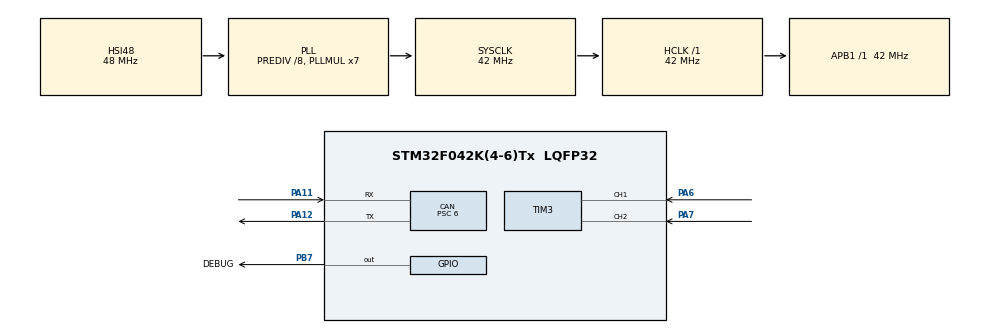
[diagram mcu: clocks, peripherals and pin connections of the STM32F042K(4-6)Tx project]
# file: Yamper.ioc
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Mcu.Family=STM32F0
RCC.PLLSourceVirtual=RCC_PLLSOURCE_HSI48
NVIC.TIM14_IRQn=true\:0\:0\:false\:false\:true\:true\:true
CAN.CalculateBaudRate=500000
PA11.Mode=CAN_Activate
CAN.CalculateTimeBit=1999.99
RCC.SYSCLKSource=RCC_SYSCLKSOURCE_PLLCLK
ProjectManager.StackSize=0x400
PA13.Signal=SYS_SWDIO
PA12.Signal=CAN_TX
CAN.BS2=CAN_BS2_2TQ
CAN.Prescaler=6
CAN.BS1=CAN_BS1_11TQ
ProjectManager.TargetToolchain=STM32CubeIDE
RCC.HCLKFreq_Value=42000000
RCC.PLLDivider=RCC_PREDIV_DIV8
RCC.AHBFreq_Value=42000000
PF0-OSC_IN.Mode=HSE-External-Oscillator
SH.S_TIM3_CH2.0=TIM3_CH2,Encoder_Interface
RCC.HSE_VALUE=16000000
board=custom
RCC.PLLMUL=RCC_PLL_MUL7
NVIC.TIM3_IRQn=true\:0\:0\:false\:false\:true\:true\:true
PA14.Mode=Serial_Wire
PB7.Signal=GPIO_Output
SH.S_TIM3_CH1.0=TIM3_CH1,Encoder_Interface
PA13.Mode=Serial_Wire
Mcu.Name=STM32F042K(4-6)Tx
CAN.CalculateTimeQuantum=142.85714285714286
TIM14.Prescaler=0
PB7.GPIO_Label=DEBUG
RCC.SYSCLKFreq_VALUE=42000000
Mcu.Package=LQFP32
PA6.Signal=S_TIM3_CH1
PA12.Mode=CAN_Activate
PA11.Signal=CAN_RX
PA14.Signal=SYS_SWCLK
ProjectManager.HeapSize=0x200
RCC.APB1TimFreq_Value=42000000
VP_TIM14_VS_ClockSourceINT.Mode=Enable_Timer
PF0-OSC_IN.Signal=RCC_OSC_IN
PF1-OSC_OUT.Mode=HSE-External-Oscillator
RCC.APB1Freq_Value=42000000
PF1-OSC_OUT.Signal=RCC_OSC_OUT
PA7.Signal=S_TIM3_CH2

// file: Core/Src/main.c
/* USER CODE BEGIN Header */
/**
  ******************************************************************************
  * @file           : main.c
  * @brief          : Main program body
  ******************************************************************************
  * @attention
  *
  * <h2><center>&copy; Copyright (c) 2021 STMicroelectronics.
  * All rights reserved.</center></h2>
  *
  * This software component is licensed by ST under BSD 3-Clause license,
  * the "License"; You may not use this file except in compliance with the
  * License. You may obtain a copy of the License at:
  *                        opensource.org/licenses/BSD-3-Clause
  *
  ******************************************************************************
  */
/* USER CODE END Header */
#include "main.h"

/* USER CODE BEGIN Includes */
#include <math.h>
/* USER CODE END Includes */

/* USER CODE BEGIN PD */
#define N 12
#define R 0.057
#define SAMPLING_PERIOD_S 0.1
/* USER CODE END PD */

CAN_HandleTypeDef hcan;

TIM_HandleTypeDef htim3;
TIM_HandleTypeDef htim14;

/* USER CODE BEGIN PV */
float* velocity;
uint8_t bytes_array[4];
CAN_TxHeaderTypeDef TxHeader;
extern uint32_t TxMailbox;
/* USER CODE END PV */

void SystemClock_Config(void);
static void MX_GPIO_Init(void);
static void MX_CAN_Init(void);
static void MX_TIM3_Init(void);
static void MX_TIM14_Init(void);
/* USER CODE BEGIN PFP */
void init_timer(void);
float compute_rpm(int n);
void add_data(void *val, uint8_t *bytes_array, uint8_t size, uint8_t is_float, uint8_t start_pos);
/* USER CODE END PFP */

/* USER CODE BEGIN 0 */
void init_timer(void) {
	RCC->APB1ENR |= RCC_APB1ENR_TIM3EN;

	TIM3->ARR = 0xFFFF;

	TIM3->CCMR1 |= (TIM_CCMR1_CC1S_0 | TIM_CCMR1_CC2S_0);
	TIM3->CCER &= ~(TIM_CCER_CC1P | TIM_CCER_CC2P);
	TIM3->SMCR |= TIM_SMCR_SMS_0 | TIM_SMCR_SMS_1;
	TIM3->CR1 |= TIM_CR1_CEN;
}

float compute_rpm(int n) {
	return (2*M_PI*R*n)/(N*SAMPLING_PERIOD_S);
}
/* USER CODE END 0 */

int main(void)
{
  /* USER CODE BEGIN 1 */
	init_timer();
  /* USER CODE END 1 */

  /* MCU Configuration--------------------------------------------------------*/

  /* Reset of all peripherals, Initializes the Flash interface and the Systick. */
  HAL_Init();

  /* Configure the system clock */
  SystemClock_Config();

  /* Initialize all configured peripherals */
  MX_GPIO_Init();
  MX_CAN_Init();
  MX_TIM3_Init();
  MX_TIM14_Init();
  /* USER CODE BEGIN 2 */
  HAL_CAN_Start(&hcan);
  HAL_TIM_Base_Start_IT(&htim14);
  __HAL_TIM_SET_COUNTER(&htim14, 0);
  /* USER CODE END 2 */

  /* Infinite loop */
  while (1)
  {

    /* USER CODE BEGIN 3 */
	  HAL_Delay(100);
	  int count = TIM3->CNT;
	  *velocity = compute_rpm(count);
	  add_data(velocity, bytes_array, 32, 1, 0);
	  HAL_CAN_AddTxMessage(&hcan, &TxHeader, bytes_array, &TxMailbox);  // load message to mailbox
	  while (HAL_CAN_IsTxMessagePending(&hcan, TxMailbox)); 		//waiting till message gets through
	  TIM3->CNT=0;
  }
  /* USER CODE END 3 */
}

void SystemClock_Config(void)
{
  RCC_OscInitTypeDef RCC_OscInitStruct = {0};
  RCC_ClkInitTypeDef RCC_ClkInitStruct = {0};

  /** Initializes the RCC Oscillators according to the specified parameters
  * in the RCC_OscInitTypeDef structure.
  */
  RCC_OscInitStruct.OscillatorType = RCC_OSCILLATORTYPE_HSI48;
  RCC_OscInitStruct.HSI48State = RCC_HSI48_ON;
  RCC_OscInitStruct.PLL.PLLState = RCC_PLL_ON;
  RCC_OscInitStruct.PLL.PLLSource = RCC_PLLSOURCE_HSI48;
  RCC_OscInitStruct.PLL.PLLMUL = RCC_PLL_MUL7;
  RCC_OscInitStruct.PLL.PREDIV = RCC_PREDIV_DIV8;
  if (HAL_RCC_OscConfig(&RCC_OscInitStruct) != HAL_OK)
  {
    Error_Handler();
  }
  /** Initializes the CPU, AHB and APB buses clocks
  */
  RCC_ClkInitStruct.ClockType = RCC_CLOCKTYPE_HCLK|RCC_CLOCKTYPE_SYSCLK
                              |RCC_CLOCKTYPE_PCLK1;
  RCC_ClkInitStruct.SYSCLKSource = RCC_SYSCLKSOURCE_PLLCLK;
  RCC_ClkInitStruct.AHBCLKDivider = RCC_SYSCLK_DIV1;
  RCC_ClkInitStruct.APB1CLKDivider = RCC_HCLK_DIV1;

  if (HAL_RCC_ClockConfig(&RCC_ClkInitStruct, FLASH_LATENCY_1) != HAL_OK)
  {
    Error_Handler();
  }
}

static void MX_CAN_Init(void)
{

  hcan.Instance = CAN;
  hcan.Init.Prescaler = 6;
  hcan.Init.Mode = CAN_MODE_NORMAL;
  hcan.Init.SyncJumpWidth = CAN_SJW_1TQ;
  hcan.Init.TimeSeg1 = CAN_BS1_11TQ;
  hcan.Init.TimeSeg2 = CAN_BS2_2TQ;
  hcan.Init.TimeTriggeredMode = DISABLE;
  hcan.Init.AutoBusOff = DISABLE;
  hcan.Init.AutoWakeUp = DISABLE;
  hcan.Init.AutoRetransmission = DISABLE;
  hcan.Init.ReceiveFifoLocked = DISABLE;
  hcan.Init.TransmitFifoPriority = DISABLE;
  if (HAL_CAN_Init(&hcan) != HAL_OK)
  {
    Error_Handler();
  }
  /* USER CODE BEGIN CAN_Init 2 */
  TxHeader.StdId = 0x1F;
  TxHeader.ExtId = 0;
  /* USER CODE END CAN_Init 2 */

}

static void MX_TIM3_Init(void)
{

  TIM_Encoder_InitTypeDef sConfig = {0};
  TIM_MasterConfigTypeDef sMasterConfig = {0};

  htim3.Instance = TIM3;
  htim3.Init.Prescaler = 0;
  htim3.Init.CounterMode = TIM_COUNTERMODE_UP;
  htim3.Init.Period = 65535;
  htim3.Init.ClockDivision = TIM_CLOCKDIVISION_DIV1;
  htim3.Init.AutoReloadPreload = TIM_AUTORELOAD_PRELOAD_DISABLE;
  sConfig.EncoderMode = TIM_ENCODERMODE_TI1;
  sConfig.IC1Polarity = TIM_ICPOLARITY_RISING;
  sConfig.IC1Selection = TIM_ICSELECTION_DIRECTTI;
  sConfig.IC1Prescaler = TIM_ICPSC_DIV1;
  sConfig.IC1Filter = 0;
  sConfig.IC2Polarity = TIM_ICPOLARITY_RISING;
  sConfig.IC2Selection = TIM_ICSELECTION_DIRECTTI;
  sConfig.IC2Prescaler = TIM_ICPSC_DIV1;
  sConfig.IC2Filter = 0;
  if (HAL_TIM_Encoder_Init(&htim3, &sConfig) != HAL_OK)
  {
    Error_Handler();
  }
  sMasterConfig.MasterOutputTrigger = TIM_TRGO_RESET;
  sMasterConfig.MasterSlaveMode = TIM_MASTERSLAVEMODE_DISABLE;
  if (HAL_TIMEx_MasterConfigSynchronization(&htim3, &sMasterConfig) != HAL_OK)
  {
    Error_Handler();
  }

}

static void MX_TIM14_Init(void)
{

  htim14.Instance = TIM14;
  htim14.Init.Prescaler = 0;
  htim14.Init.CounterMode = TIM_COUNTERMODE_UP;
  htim14.Init.Period = 65535;
  htim14.Init.ClockDivision = TIM_CLOCKDIVISION_DIV1;
  htim14.Init.AutoReloadPreload = TIM_AUTORELOAD_PRELOAD_DISABLE;
  if (HAL_TIM_Base_Init(&htim14) != HAL_OK)
  {
    Error_Handler();
  }

}

static void MX_GPIO_Init(void)
{
  GPIO_InitTypeDef GPIO_InitStruct = {0};

  /* GPIO Ports Clock Enable */
  __HAL_RCC_GPIOF_CLK_ENABLE();
  __HAL_RCC_GPIOA_CLK_ENABLE();
  __HAL_RCC_GPIOB_CLK_ENABLE();

  /*Configure GPIO pin Output Level */
  HAL_GPIO_WritePin(DEBUG_GPIO_Port, DEBUG_Pin, GPIO_PIN_RESET);

  /*Configure GPIO pin : DEBUG_Pin */
  GPIO_InitStruct.Pin = DEBUG_Pin;
  GPIO_InitStruct.Mode = GPIO_MODE_OUTPUT_PP;
  GPIO_InitStruct.Pull = GPIO_NOPULL;
  GPIO_InitStruct.Speed = GPIO_SPEED_FREQ_LOW;
  HAL_GPIO_Init(DEBUG_GPIO_Port, &GPIO_InitStruct);

}

/* USER CODE BEGIN 4 */
void HAL_TIM_PeriodElapsedCallback(TIM_HandleTypeDef *htim){
	HAL_GPIO_TogglePin(GPIOB,GPIO_PIN_7);
}
/* USER CODE END 4 */

void Error_Handler(void)
{
  __disable_irq();
  while (1)
  {
  }
}

/************************ (C) COPYRIGHT STMicroelectronics *****END OF FILE****/
